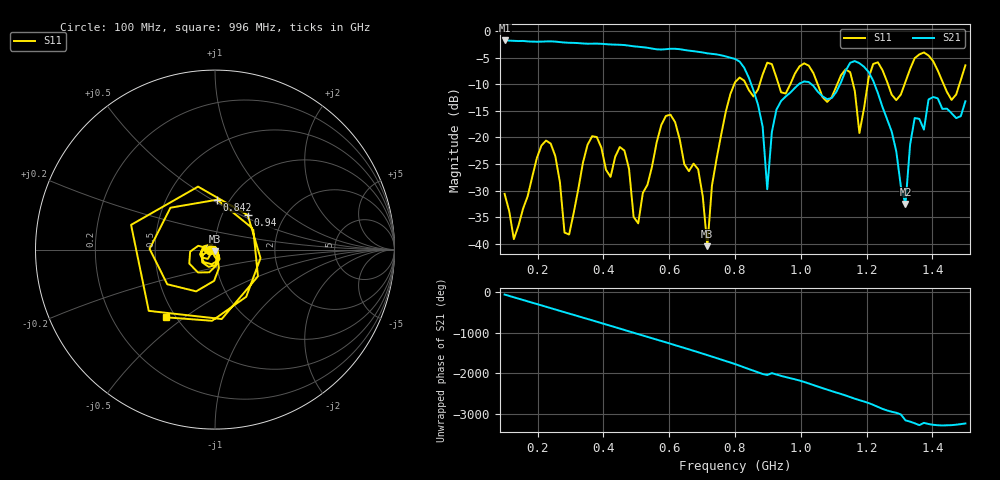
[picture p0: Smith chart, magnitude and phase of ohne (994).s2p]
! NanoVNA-App
! Date: 2025-09-25 14:28:32
! Start: 100MHz Stop: 1,5GHz Points: 101
! S-Parameter data: F S11 S21 S12 S22
# Hz S RI R 50
!  Frequency  S11_Real  S11_Imag  S21_Real  S21_Imag  S12_Real  S12_Imag  S22_Real  S22_Imag
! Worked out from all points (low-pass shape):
!   101 points, 100 MHz to 1.5 GHz, reference 50 ohm
!   highest |S21| = -1.79 dB at 100 MHz (marker M1); lowest = -32.5 dB at 1.318 GHz (marker M2)
!   |S21| within 3 dB of the highest: start of sweep to 772.2 MHz
!   lowest |S11| = -40.5 dB at 716 MHz (marker M3), VSWR 1.02, Z = 49.7 - j0.902 ohm
!   |S11| at or under -10 dB: start of sweep to 797.9 MHz; 833.2 MHz to 875 MHz (41.83 MHz wide, 4.9 % of centre); 1.051 GHz to 1.111 GHz (59.69 MHz wide, 5.52 % of centre) (the widest 3 of 7)
!   S12 and S22 are empty: the file has one direction only
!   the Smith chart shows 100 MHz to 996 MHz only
!   S11 on the Smith chart (normalised r, x): 100 MHz: 0.94, -0.01; 842 MHz: 0.88, +0.53; 940 MHz: 1.32, +0.54; 996 MHz: 0.45, -0.43
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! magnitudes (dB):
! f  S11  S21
! 100 MHz  -30.6  -1.8
! 128 MHz  -39.1  -1.9
! 226 MHz  -20.6  -2.0
! 296 MHz  -38.3  -2.2
! 338 MHz  -24.8  -2.4
! 464 MHz  -22.5  -2.7
! 506 MHz  -36.2  -3.0
! 576 MHz  -17.7  -3.5
! 688 MHz  -26.0  -3.9
! 716 MHz  -40.5  -4.2
! 800 MHz  -9.7  -5.3
! 842 MHz  -11.1  -8.8
! 898 MHz  -6.0  -29.8
! 940 MHz  -11.5  -13.2
! 996 MHz  -6.7  -9.9
! 1.038 GHz  -7.9  -10.3
! 1.178 GHz  -19.2  -6.1
! 1.22 GHz  -6.2  -9.4
! 1.276 GHz  -12.0  -18.9
! 1.318 GHz  -9.6  -32.5
! 1.346 GHz  -5.1  -16.4
! 1.5 GHz  -6.5  -13.2
